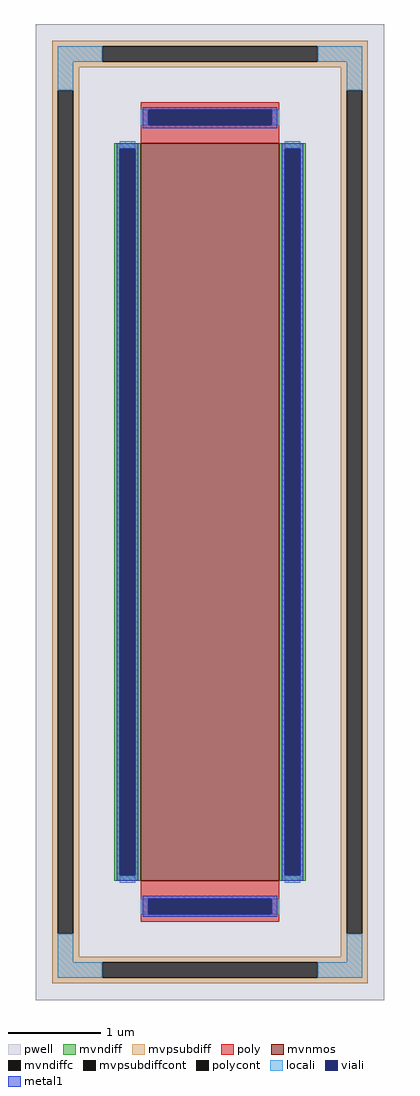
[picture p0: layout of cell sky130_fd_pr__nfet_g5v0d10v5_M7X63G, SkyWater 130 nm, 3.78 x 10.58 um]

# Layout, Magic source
magic
tech sky130A
<< pwell >>
rect -189 -529 189 529
<< mvnmos >>
rect -75 -400 75 400
<< mvndiff >>
rect -104 394 -75 400
rect -104 -394 -98 394
rect -81 -394 -75 394
rect -104 -400 -75 -394
rect 75 394 104 400
rect 75 -394 81 394
rect 98 -394 104 394
rect 75 -400 104 -394
<< mvndiffc >>
rect -98 -394 -81 394
rect 81 -394 98 394
<< mvpsubdiff >>
rect -171 505 171 511
rect -171 488 -117 505
rect 117 488 171 505
rect -171 482 171 488
rect -171 457 -142 482
rect -171 -457 -165 457
rect -148 -457 -142 457
rect 142 457 171 482
rect -171 -482 -142 -457
rect 142 -457 148 457
rect 165 -457 171 457
rect 142 -482 171 -457
rect -171 -488 171 -482
rect -171 -505 -117 -488
rect 117 -505 171 -488
rect -171 -511 171 -505
<< mvpsubdiffcont >>
rect -117 488 117 505
rect -165 -457 -148 457
rect 148 -457 165 457
rect -117 -505 117 -488
<< poly >>
rect -75 436 75 444
rect -75 419 -67 436
rect 67 419 75 436
rect -75 400 75 419
rect -75 -419 75 -400
rect -75 -436 -67 -419
rect 67 -436 75 -419
rect -75 -444 75 -436
<< polycont >>
rect -67 419 67 436
rect -67 -436 67 -419
<< locali >>
rect -165 488 -117 505
rect 117 488 165 505
rect -165 457 -148 488
rect 148 457 165 488
rect -75 419 -67 436
rect 67 419 75 436
rect -98 394 -81 402
rect -98 -402 -81 -394
rect 81 394 98 402
rect 81 -402 98 -394
rect -75 -436 -67 -419
rect 67 -436 75 -419
rect -165 -488 -148 -457
rect 148 -488 165 -457
rect -165 -505 -117 -488
rect 117 -505 165 -488
<< viali >>
rect -67 419 67 436
rect -98 -394 -81 394
rect 81 -394 98 394
rect -67 -436 67 -419
<< metal1 >>
rect -73 436 73 439
rect -73 419 -67 436
rect 67 419 73 436
rect -73 416 73 419
rect -101 394 -78 400
rect -101 -394 -98 394
rect -81 -394 -78 394
rect -101 -400 -78 -394
rect 78 394 101 400
rect 78 -394 81 394
rect 98 -394 101 394
rect 78 -400 101 -394
rect -73 -419 73 -416
rect -73 -436 -67 -419
rect 67 -436 73 -419
rect -73 -439 73 -436
<< properties >>
string FIXED_BBOX -156 -496 156 496
string gencell sky130_fd_pr__nfet_g5v0d10v5
string library sky130
string parameters w 8 l 1.5 m 1 nf 1 diffcov 100 polycov 100 guard 1 glc 1 grc 1 gtc 1 gbc 1 tbcov 100 rlcov 100 topc 1 botc 1 poverlap 0 doverlap 1 lmin 0.50 wmin 0.42 compatible {sky130_fd_pr__nfet_01v8 sky130_fd_pr__nfet_01v8_lvt  sky130_fd_bs_flash__special_sonosfet_star  sky130_fd_pr__nfet_g5v0d10v5 sky130_fd_pr__nfet_05v0_nvt  sky130_fd_pr__nfet_03v3_nvt} full_metal 1 viasrc 100 viadrn 100 viagate 100 viagb 0 viagr 0 viagl 0 viagt 0
<< end >>
